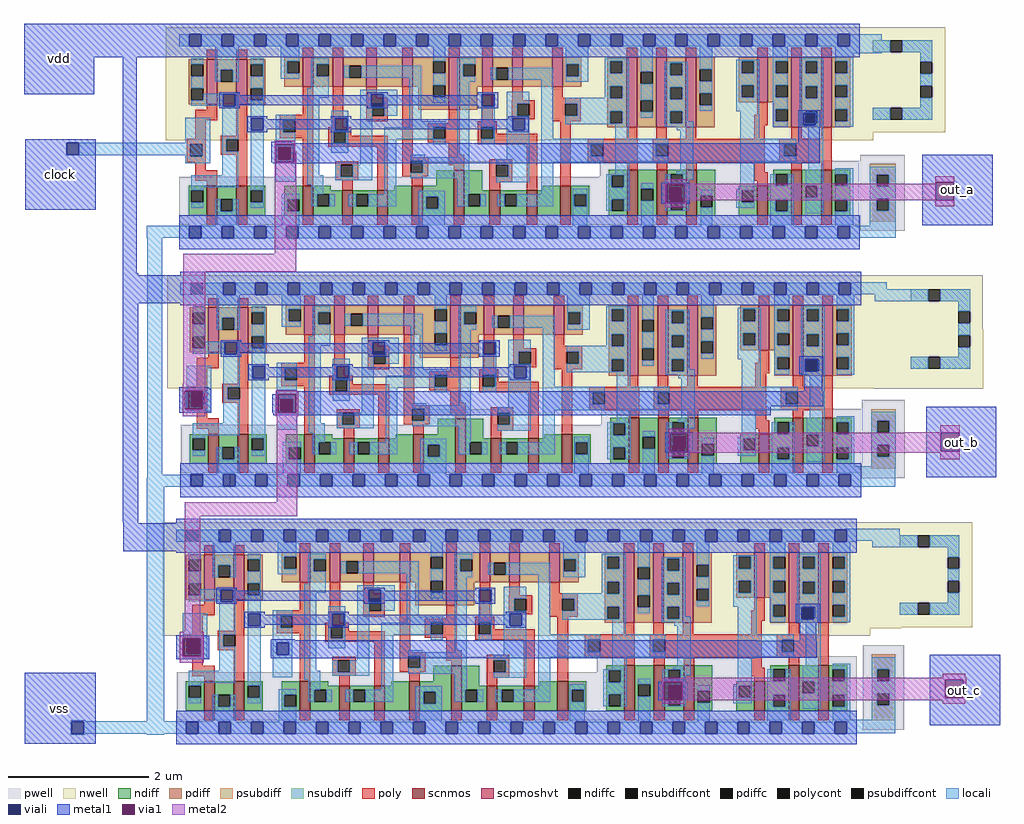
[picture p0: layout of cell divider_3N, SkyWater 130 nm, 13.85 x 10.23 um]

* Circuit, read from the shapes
.subckt divider_3N clock out_a out_b out_c vdd vss
XM1 vss x2/CLK n1 vss sky130_fd_pr__nfet_01v8 w=0.42 l=0.15
XM2 vss clock n2 vss sky130_fd_pr__nfet_01v8 w=0.42 l=0.15
XM3 vss x1/CLK n3 vss sky130_fd_pr__nfet_01v8 w=0.42 l=0.15
XM4 n4 n1 vss vss sky130_fd_pr__nfet_01v8 w=0.42 l=0.15
XM5 n5 n2 vss vss sky130_fd_pr__nfet_01v8 w=0.42 l=0.15
XM6 n6 n3 vss vss sky130_fd_pr__nfet_01v8 w=0.42 l=0.15
XM7 n7 x2/D vss vss sky130_fd_pr__nfet_01v8 w=0.42 l=0.15
XM8 n8 x1/CLK vss vss sky130_fd_pr__nfet_01v8 w=0.42 l=0.15
XM9 n9 x2/CLK vss vss sky130_fd_pr__nfet_01v8 w=0.42 l=0.15
XM10 n10 n1 n7 vss sky130_fd_pr__nfet_01v8 w=0.36 l=0.15
XM11 n11 n2 n8 vss sky130_fd_pr__nfet_01v8 w=0.36 l=0.15
XM12 n12 n3 n9 vss sky130_fd_pr__nfet_01v8 w=0.36 l=0.15
XM13 n13 n4 n10 vss sky130_fd_pr__nfet_01v8 w=0.36 l=0.15
XM14 n14 n5 n11 vss sky130_fd_pr__nfet_01v8 w=0.36 l=0.15
XM15 n15 n6 n12 vss sky130_fd_pr__nfet_01v8 w=0.36 l=0.15
XM16 vss n16 n13 vss sky130_fd_pr__nfet_01v8 w=0.42 l=0.15
XM17 vss n17 n14 vss sky130_fd_pr__nfet_01v8 w=0.42 l=0.15
XM18 vss n18 n15 vss sky130_fd_pr__nfet_01v8 w=0.42 l=0.15
XM19 n16 n10 vss vss sky130_fd_pr__nfet_01v8 w=0.64 l=0.15
XM20 n17 n11 vss vss sky130_fd_pr__nfet_01v8 w=0.64 l=0.15
XM21 n18 n12 vss vss sky130_fd_pr__nfet_01v8 w=0.64 l=0.15
XM22 n19 n4 n16 vss sky130_fd_pr__nfet_01v8 w=0.36 l=0.15
XM23 n20 n5 n17 vss sky130_fd_pr__nfet_01v8 w=0.36 l=0.15
XM24 n21 n6 n18 vss sky130_fd_pr__nfet_01v8 w=0.36 l=0.15
XM25 n22 n1 n19 vss sky130_fd_pr__nfet_01v8 w=0.36 l=0.15
XM26 n23 n2 n20 vss sky130_fd_pr__nfet_01v8 w=0.36 l=0.15
XM27 n24 n3 n21 vss sky130_fd_pr__nfet_01v8 w=0.36 l=0.15
XM28 vss n25 n22 vss sky130_fd_pr__nfet_01v8 w=0.42 l=0.15
XM29 vss n26 n23 vss sky130_fd_pr__nfet_01v8 w=0.42 l=0.15
XM30 vss n27 n24 vss sky130_fd_pr__nfet_01v8 w=0.42 l=0.15
XM31 vss n19 n25 vss sky130_fd_pr__nfet_01v8 w=0.65 l=0.15
XM32 vss n20 n26 vss sky130_fd_pr__nfet_01v8 w=0.65 l=0.15
XM33 vss n21 n27 vss sky130_fd_pr__nfet_01v8 w=0.65 l=0.15
XM34 out_c n25 vss vss sky130_fd_pr__nfet_01v8 w=0.65 l=0.15 m=2
XM35 out_a n26 vss vss sky130_fd_pr__nfet_01v8 w=0.65 l=0.15 m=2
XM36 out_b n27 vss vss sky130_fd_pr__nfet_01v8 w=0.65 l=0.15 m=2
XM37 vss n25 n28 vss sky130_fd_pr__nfet_01v8 w=0.42 l=0.15
XM38 vss n26 n29 vss sky130_fd_pr__nfet_01v8 w=0.42 l=0.15
XM39 vss n27 n30 vss sky130_fd_pr__nfet_01v8 w=0.42 l=0.15
XM40 x2/D n28 vss vss sky130_fd_pr__nfet_01v8 w=0.65 l=0.15 m=2
XM41 x1/CLK n29 vss vss sky130_fd_pr__nfet_01v8 w=0.65 l=0.15 m=2
XM42 x2/CLK n30 vss vss sky130_fd_pr__nfet_01v8 w=0.65 l=0.15 m=2
XM43 vdd x2/CLK n1 vdd sky130_fd_pr__pfet_01v8_hvt w=0.64 l=0.15
XM44 vdd clock n2 vdd sky130_fd_pr__pfet_01v8_hvt w=0.64 l=0.15
XM45 vdd x1/CLK n3 vdd sky130_fd_pr__pfet_01v8_hvt w=0.64 l=0.15
XM46 n4 n1 vdd vdd sky130_fd_pr__pfet_01v8_hvt w=0.64 l=0.15
XM47 n5 n2 vdd vdd sky130_fd_pr__pfet_01v8_hvt w=0.64 l=0.15
XM48 n6 n3 vdd vdd sky130_fd_pr__pfet_01v8_hvt w=0.64 l=0.15
XM49 n7 x2/D vdd vdd sky130_fd_pr__pfet_01v8_hvt w=0.42 l=0.15
XM50 n8 x1/CLK vdd vdd sky130_fd_pr__pfet_01v8_hvt w=0.42 l=0.15
XM51 n9 x2/CLK vdd vdd sky130_fd_pr__pfet_01v8_hvt w=0.42 l=0.15
XM52 n10 n4 n7 vdd sky130_fd_pr__pfet_01v8_hvt w=0.42 l=0.15
XM53 n11 n5 n8 vdd sky130_fd_pr__pfet_01v8_hvt w=0.42 l=0.15
XM54 n12 n6 n9 vdd sky130_fd_pr__pfet_01v8_hvt w=0.42 l=0.15
XM55 n31 n1 n10 vdd sky130_fd_pr__pfet_01v8_hvt w=0.42 l=0.15
XM56 n32 n2 n11 vdd sky130_fd_pr__pfet_01v8_hvt w=0.42 l=0.15
XM57 n33 n3 n12 vdd sky130_fd_pr__pfet_01v8_hvt w=0.42 l=0.15
XM58 vdd n16 n31 vdd sky130_fd_pr__pfet_01v8_hvt w=0.42 l=0.15
XM59 vdd n17 n32 vdd sky130_fd_pr__pfet_01v8_hvt w=0.42 l=0.15
XM60 vdd n18 n33 vdd sky130_fd_pr__pfet_01v8_hvt w=0.42 l=0.15
XM61 n16 n10 vdd vdd sky130_fd_pr__pfet_01v8_hvt w=0.75 l=0.15
XM62 n17 n11 vdd vdd sky130_fd_pr__pfet_01v8_hvt w=0.75 l=0.15
XM63 n18 n12 vdd vdd sky130_fd_pr__pfet_01v8_hvt w=0.75 l=0.15
XM64 n19 n1 n16 vdd sky130_fd_pr__pfet_01v8_hvt w=0.42 l=0.15
XM65 n20 n2 n17 vdd sky130_fd_pr__pfet_01v8_hvt w=0.42 l=0.15
XM66 n21 n3 n18 vdd sky130_fd_pr__pfet_01v8_hvt w=0.42 l=0.15
XM67 n34 n4 n19 vdd sky130_fd_pr__pfet_01v8_hvt w=0.42 l=0.15
XM68 n35 n5 n20 vdd sky130_fd_pr__pfet_01v8_hvt w=0.42 l=0.15
XM69 n36 n6 n21 vdd sky130_fd_pr__pfet_01v8_hvt w=0.42 l=0.15
XM70 vdd n25 n34 vdd sky130_fd_pr__pfet_01v8_hvt w=0.42 l=0.15
XM71 vdd n26 n35 vdd sky130_fd_pr__pfet_01v8_hvt w=0.42 l=0.15
XM72 vdd n27 n36 vdd sky130_fd_pr__pfet_01v8_hvt w=0.42 l=0.15
XM73 vdd n19 n25 vdd sky130_fd_pr__pfet_01v8_hvt w=1 l=0.15
XM74 vdd n20 n26 vdd sky130_fd_pr__pfet_01v8_hvt w=1 l=0.15
XM75 vdd n21 n27 vdd sky130_fd_pr__pfet_01v8_hvt w=1 l=0.15
XM76 out_c n25 vdd vdd sky130_fd_pr__pfet_01v8_hvt w=1 l=0.15 m=2
XM77 out_a n26 vdd vdd sky130_fd_pr__pfet_01v8_hvt w=1 l=0.15 m=2
XM78 out_b n27 vdd vdd sky130_fd_pr__pfet_01v8_hvt w=1 l=0.15 m=2
XM79 vdd n25 n28 vdd sky130_fd_pr__pfet_01v8_hvt w=0.64 l=0.15
XM80 vdd n26 n29 vdd sky130_fd_pr__pfet_01v8_hvt w=0.64 l=0.15
XM81 vdd n27 n30 vdd sky130_fd_pr__pfet_01v8_hvt w=0.64 l=0.15
XM82 x2/D n28 vdd vdd sky130_fd_pr__pfet_01v8_hvt w=1 l=0.15 m=2
XM83 x1/CLK n29 vdd vdd sky130_fd_pr__pfet_01v8_hvt w=1 l=0.15 m=2
XM84 x2/CLK n30 vdd vdd sky130_fd_pr__pfet_01v8_hvt w=1 l=0.15 m=2
.ends

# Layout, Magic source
magic
tech sky130A
magscale 1 2
<< nwell >>
rect 3997 101 4202 399
rect 3982 -458 4309 -304
rect 3982 -602 4310 -458
rect 4000 -626 4310 -602
rect 3988 -1304 4279 -1006
rect 3988 -1306 4078 -1304
<< pwell >>
rect 3962 -178 4088 38
rect 3966 -880 4088 -658
rect 3968 -1594 4086 -1354
<< psubdiff >>
rect 3988 -19 4062 12
rect 3988 -53 4008 -19
rect 4042 -53 4062 -19
rect 3988 -87 4062 -53
rect 3988 -121 4008 -87
rect 4042 -121 4062 -87
rect 3988 -152 4062 -121
rect 3992 -718 4062 -684
rect 3992 -752 4010 -718
rect 4044 -752 4062 -718
rect 3992 -786 4062 -752
rect 3992 -820 4010 -786
rect 4044 -820 4062 -786
rect 3992 -854 4062 -820
rect 3994 -1423 4060 -1380
rect 3994 -1457 4010 -1423
rect 4044 -1457 4060 -1423
rect 3994 -1491 4060 -1457
rect 3994 -1525 4010 -1491
rect 4044 -1525 4060 -1491
rect 3994 -1568 4060 -1525
<< nsubdiff >>
rect 3997 329 4047 363
rect 4081 329 4166 363
rect 4132 301 4166 329
rect 4132 233 4166 267
rect 4132 171 4166 199
rect 3997 137 4047 171
rect 4081 137 4166 171
rect 4104 -378 4154 -344
rect 4188 -378 4273 -344
rect 4239 -406 4273 -378
rect 4239 -474 4273 -440
rect 4239 -536 4273 -508
rect 4104 -570 4154 -536
rect 4188 -570 4273 -536
rect 4074 -1076 4124 -1042
rect 4158 -1076 4243 -1042
rect 4209 -1104 4243 -1076
rect 4209 -1172 4243 -1138
rect 4209 -1234 4243 -1206
rect 4074 -1268 4124 -1234
rect 4158 -1268 4243 -1234
<< psubdiffcont >>
rect 4008 -53 4042 -19
rect 4008 -121 4042 -87
rect 4010 -752 4044 -718
rect 4010 -820 4044 -786
rect 4010 -1457 4044 -1423
rect 4010 -1525 4044 -1491
<< nsubdiffcont >>
rect 4047 329 4081 363
rect 4132 267 4166 301
rect 4132 199 4166 233
rect 4047 137 4081 171
rect 4154 -378 4188 -344
rect 4239 -440 4273 -406
rect 4239 -508 4273 -474
rect 4154 -570 4188 -536
rect 4124 -1076 4158 -1042
rect 4209 -1138 4243 -1104
rect 4209 -1206 4243 -1172
rect 4124 -1268 4158 -1234
<< locali >>
rect 3940 363 4022 380
rect 3940 329 4047 363
rect 4081 329 4166 363
rect 3940 326 4022 329
rect 4132 301 4166 329
rect 4132 233 4166 267
rect 4132 171 4166 199
rect 3798 156 3836 158
rect 3798 122 3800 156
rect 3834 122 3836 156
rect 3997 137 4047 171
rect 4081 137 4166 171
rect 3798 120 3836 122
rect 1708 71 2094 72
rect 1708 37 1709 71
rect 1743 37 2094 71
rect 1708 36 2094 37
rect 2304 59 2348 62
rect 2304 25 2309 59
rect 2343 25 2348 59
rect 2304 22 2348 25
rect 3988 -19 4062 4
rect 3414 -56 3460 -50
rect 3414 -90 3420 -56
rect 3454 -90 3460 -56
rect 3414 -96 3460 -90
rect 3988 -53 4008 -19
rect 4042 -53 4062 -19
rect 3988 -87 4062 -53
rect 3988 -121 4008 -87
rect 4042 -121 4062 -87
rect 3988 -164 4062 -121
rect 1936 -198 2172 -164
rect 3940 -180 4062 -164
rect 3958 -198 4062 -180
rect 1938 -870 1980 -198
rect 3944 -344 4036 -324
rect 3944 -358 4154 -344
rect 4002 -378 4154 -358
rect 4188 -378 4273 -344
rect 4239 -406 4273 -378
rect 4239 -474 4273 -440
rect 4239 -536 4273 -508
rect 3800 -543 3844 -540
rect 3800 -577 3805 -543
rect 3839 -577 3844 -543
rect 4104 -570 4154 -536
rect 4188 -570 4273 -536
rect 3800 -580 3844 -577
rect 2052 -643 2108 -632
rect 2052 -677 2063 -643
rect 2097 -677 2108 -643
rect 2052 -688 2108 -677
rect 2308 -656 2360 -650
rect 2308 -690 2317 -656
rect 2351 -690 2360 -656
rect 2308 -696 2360 -690
rect 3992 -718 4062 -692
rect 3992 -752 4010 -718
rect 4044 -752 4062 -718
rect 3424 -762 3470 -756
rect 3424 -796 3430 -762
rect 3464 -796 3470 -762
rect 3424 -802 3470 -796
rect 3992 -786 4062 -752
rect 3992 -820 4010 -786
rect 4044 -820 4062 -786
rect 3992 -846 4062 -820
rect 1938 -880 2174 -870
rect 1936 -904 2174 -880
rect 3942 -904 4060 -846
rect 1720 -1570 1762 -1568
rect 1936 -1570 1986 -904
rect 3918 -1028 4074 -1024
rect 3950 -1042 4074 -1028
rect 3950 -1058 4124 -1042
rect 3996 -1076 4124 -1058
rect 4158 -1076 4243 -1042
rect 4209 -1104 4243 -1076
rect 4209 -1172 4243 -1138
rect 4209 -1234 4243 -1206
rect 3790 -1246 3836 -1242
rect 3790 -1280 3796 -1246
rect 3830 -1280 3836 -1246
rect 4074 -1268 4124 -1234
rect 4158 -1268 4243 -1234
rect 3790 -1284 3836 -1280
rect 2038 -1344 2102 -1334
rect 2038 -1378 2053 -1344
rect 2087 -1378 2102 -1344
rect 2038 -1388 2102 -1378
rect 2302 -1347 2344 -1344
rect 2302 -1381 2306 -1347
rect 2340 -1381 2344 -1347
rect 2302 -1384 2344 -1381
rect 3994 -1423 4060 -1388
rect 3994 -1457 4010 -1423
rect 4044 -1457 4060 -1423
rect 3410 -1468 3456 -1466
rect 3410 -1502 3416 -1468
rect 3450 -1502 3456 -1468
rect 3410 -1512 3456 -1502
rect 3994 -1491 4060 -1457
rect 3994 -1525 4010 -1491
rect 4044 -1525 4060 -1491
rect 3994 -1566 4060 -1525
rect 1720 -1571 2164 -1570
rect 1720 -1605 1724 -1571
rect 1758 -1605 2164 -1571
rect 3928 -1604 4060 -1566
rect 1720 -1606 2164 -1605
rect 1720 -1608 1762 -1606
rect 1936 -1608 1986 -1606
<< viali >>
rect 3800 122 3834 156
rect 1709 37 1743 71
rect 2309 25 2343 59
rect 3420 -90 3454 -56
rect 3805 -577 3839 -543
rect 2063 -677 2097 -643
rect 2317 -690 2351 -656
rect 3430 -796 3464 -762
rect 3796 -1280 3830 -1246
rect 2053 -1378 2087 -1344
rect 2306 -1381 2340 -1347
rect 3416 -1502 3450 -1468
rect 1724 -1605 1758 -1571
<< metal1 >>
rect 1588 314 2056 410
rect 1588 210 1788 314
rect 1592 71 1792 82
rect 1592 37 1709 71
rect 1743 37 1792 71
rect 1592 -118 1792 37
rect 1868 -298 1908 314
rect 3786 156 3848 164
rect 3786 122 3800 156
rect 3834 122 3848 156
rect 3786 114 3848 122
rect 2290 70 2348 74
rect 3786 70 3846 114
rect 2290 68 3846 70
rect 2290 16 2303 68
rect 2355 16 3846 68
rect 2294 14 3846 16
rect 2348 12 2376 14
rect 4138 -40 4338 38
rect 3396 -46 3478 -42
rect 3396 -98 3411 -46
rect 3463 -98 3478 -46
rect 3396 -102 3478 -98
rect 4138 -92 4175 -40
rect 4227 -92 4338 -40
rect 4138 -162 4338 -92
rect 1868 -304 1912 -298
rect 1868 -384 2126 -304
rect 1868 -1006 1912 -384
rect 3788 -543 3856 -534
rect 3788 -577 3805 -543
rect 3839 -577 3856 -543
rect 3788 -586 3856 -577
rect 2028 -626 2112 -622
rect 2028 -632 2120 -626
rect 2028 -684 2044 -632
rect 2096 -643 2120 -632
rect 2306 -634 2360 -630
rect 3802 -634 3854 -586
rect 2306 -642 3856 -634
rect 2097 -677 2120 -643
rect 2096 -684 2120 -677
rect 2028 -694 2120 -684
rect 2292 -694 2308 -642
rect 2360 -676 3856 -642
rect 2360 -694 3708 -676
rect 2296 -702 3708 -694
rect 3408 -753 3486 -750
rect 3408 -805 3421 -753
rect 3473 -805 3486 -753
rect 3408 -808 3486 -805
rect 4148 -752 4348 -678
rect 4148 -804 4190 -752
rect 4242 -804 4348 -752
rect 4148 -878 4348 -804
rect 1870 -1008 1912 -1006
rect 1870 -1088 2146 -1008
rect 3778 -1246 3848 -1236
rect 3778 -1280 3796 -1246
rect 3830 -1280 3848 -1246
rect 3778 -1290 3848 -1280
rect 2020 -1328 2108 -1326
rect 2020 -1334 2114 -1328
rect 2020 -1386 2038 -1334
rect 2090 -1386 2114 -1334
rect 2290 -1340 2356 -1338
rect 2020 -1394 2114 -1386
rect 2288 -1342 3668 -1340
rect 3790 -1342 3836 -1290
rect 2288 -1347 3838 -1342
rect 2288 -1381 2306 -1347
rect 2340 -1381 3838 -1347
rect 2288 -1390 3838 -1381
rect 2288 -1392 3668 -1390
rect 1590 -1571 1792 -1432
rect 4158 -1452 4358 -1382
rect 3398 -1458 3468 -1452
rect 3388 -1510 3404 -1458
rect 3456 -1510 3472 -1458
rect 4158 -1504 4202 -1452
rect 4254 -1504 4358 -1452
rect 1590 -1605 1724 -1571
rect 1758 -1605 1792 -1571
rect 4158 -1582 4358 -1504
rect 1590 -1634 1792 -1605
<< via1 >>
rect 2303 59 2355 68
rect 2303 25 2309 59
rect 2309 25 2343 59
rect 2343 25 2355 59
rect 2303 16 2355 25
rect 3411 -56 3463 -46
rect 3411 -90 3420 -56
rect 3420 -90 3454 -56
rect 3454 -90 3463 -56
rect 3411 -98 3463 -90
rect 4175 -92 4227 -40
rect 2044 -643 2096 -632
rect 2044 -677 2063 -643
rect 2063 -677 2096 -643
rect 2044 -684 2096 -677
rect 2308 -656 2360 -642
rect 2308 -690 2317 -656
rect 2317 -690 2351 -656
rect 2351 -690 2360 -656
rect 2308 -694 2360 -690
rect 3421 -762 3473 -753
rect 3421 -796 3430 -762
rect 3430 -796 3464 -762
rect 3464 -796 3473 -762
rect 3421 -805 3473 -796
rect 4190 -804 4242 -752
rect 2038 -1344 2090 -1334
rect 2038 -1378 2053 -1344
rect 2053 -1378 2087 -1344
rect 2087 -1378 2090 -1344
rect 2038 -1386 2090 -1378
rect 3404 -1468 3456 -1458
rect 3404 -1502 3416 -1468
rect 3416 -1502 3450 -1468
rect 3450 -1502 3456 -1468
rect 3404 -1510 3456 -1502
rect 4202 -1504 4254 -1452
<< metal2 >>
rect 2300 68 2358 78
rect 2300 16 2303 68
rect 2355 48 2358 68
rect 2355 16 2360 48
rect 2300 -244 2360 16
rect 3406 -44 3468 -32
rect 4174 -40 4228 -24
rect 4174 -44 4175 -40
rect 3406 -46 4175 -44
rect 3406 -98 3411 -46
rect 3463 -92 4175 -46
rect 4227 -92 4228 -40
rect 3463 -98 3468 -92
rect 3406 -112 3468 -98
rect 4174 -108 4228 -92
rect 2040 -294 2360 -244
rect 2040 -612 2102 -294
rect 2038 -632 2102 -612
rect 2038 -684 2044 -632
rect 2096 -684 2102 -632
rect 2038 -704 2102 -684
rect 2302 -642 2366 -632
rect 2302 -694 2308 -642
rect 2360 -694 2366 -642
rect 2302 -704 2366 -694
rect 2306 -948 2364 -704
rect 3418 -752 3476 -740
rect 4188 -750 4244 -730
rect 4090 -752 4244 -750
rect 3418 -753 4190 -752
rect 3418 -805 3421 -753
rect 3473 -804 4190 -753
rect 4242 -804 4244 -752
rect 3473 -805 4244 -804
rect 3418 -808 4244 -805
rect 3418 -818 3476 -808
rect 4188 -826 4244 -808
rect 2044 -988 2364 -948
rect 2044 -1316 2088 -988
rect 2030 -1334 2098 -1316
rect 2030 -1386 2038 -1334
rect 2090 -1386 2098 -1334
rect 2030 -1404 2098 -1386
rect 4196 -1446 4260 -1436
rect 3398 -1452 4262 -1446
rect 3398 -1458 4202 -1452
rect 3398 -1510 3404 -1458
rect 3456 -1504 4202 -1458
rect 4254 -1504 4262 -1452
rect 3456 -1510 4262 -1504
rect 3398 -1520 3462 -1510
rect 4196 -1520 4260 -1510
use sky130_fd_sc_hd__dfxbp_2  x1
transform 1 0 2032 0 1 -886
box -38 -48 1970 592
use sky130_fd_sc_hd__dfxbp_2  x2
transform 1 0 2020 0 1 -1588
box -38 -48 1970 592
use sky130_fd_sc_hd__dfxbp_2  x3
transform 1 0 2028 0 1 -182
box -38 -48 1970 592
<< labels >>
flabel metal1 s 1592 -118 1792 82 0 FreeSans 320 0 0 0 clock
port 1 nsew
flabel metal1 s 4138 -162 4338 38 0 FreeSans 320 0 0 0 out_a
port 2 nsew
flabel metal1 s 4148 -878 4348 -678 0 FreeSans 320 0 0 0 out_b
port 3 nsew
flabel metal1 s 4158 -1582 4358 -1382 0 FreeSans 320 0 0 0 out_c
port 4 nsew
flabel metal1 s 1588 210 1788 410 0 FreeSans 320 0 0 0 vdd
port 5 nsew
flabel metal1 s 1590 -1634 1790 -1434 0 FreeSans 320 0 0 0 vss
port 6 nsew
<< end >>

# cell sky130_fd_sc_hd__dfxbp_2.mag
magic
tech sky130A
magscale 1 2
<< nwell >>
rect -38 261 1970 582
<< pwell >>
rect 704 157 886 201
rect 1194 157 1931 203
rect 1 21 1931 157
rect 29 -17 63 21
<< scnmos >>
rect 79 47 109 131
rect 163 47 193 131
rect 351 47 381 131
rect 463 47 493 119
rect 562 47 592 119
rect 661 47 691 131
rect 780 47 810 175
rect 881 47 911 119
rect 987 47 1017 119
rect 1082 47 1112 131
rect 1272 47 1302 177
rect 1356 47 1386 177
rect 1440 47 1470 177
rect 1641 47 1671 131
rect 1738 47 1768 177
rect 1822 47 1852 177
<< scpmoshvt >>
rect 79 363 109 491
rect 163 363 193 491
rect 351 413 381 497
rect 436 413 466 497
rect 531 413 561 497
rect 634 413 664 497
rect 766 347 796 497
rect 861 413 891 497
rect 945 413 975 497
rect 1059 413 1089 497
rect 1270 297 1300 497
rect 1354 297 1384 497
rect 1438 297 1468 497
rect 1641 369 1671 497
rect 1738 297 1768 497
rect 1822 297 1852 497
<< ndiff >>
rect 27 119 79 131
rect 27 85 35 119
rect 69 85 79 119
rect 27 47 79 85
rect 109 93 163 131
rect 109 59 119 93
rect 153 59 163 93
rect 109 47 163 59
rect 193 119 245 131
rect 193 85 203 119
rect 237 85 245 119
rect 193 47 245 85
rect 299 93 351 131
rect 299 59 307 93
rect 341 59 351 93
rect 299 47 351 59
rect 381 119 431 131
rect 730 131 780 175
rect 611 119 661 131
rect 381 107 463 119
rect 381 73 392 107
rect 426 73 463 107
rect 381 47 463 73
rect 493 107 562 119
rect 493 73 503 107
rect 537 73 562 107
rect 493 47 562 73
rect 592 47 661 119
rect 691 101 780 131
rect 691 67 702 101
rect 736 67 780 101
rect 691 47 780 67
rect 810 119 860 175
rect 1220 162 1272 177
rect 1032 119 1082 131
rect 810 107 881 119
rect 810 73 821 107
rect 855 73 881 107
rect 810 47 881 73
rect 911 107 987 119
rect 911 73 924 107
rect 958 73 987 107
rect 911 47 987 73
rect 1017 47 1082 119
rect 1112 107 1164 131
rect 1112 73 1122 107
rect 1156 73 1164 107
rect 1112 47 1164 73
rect 1220 128 1228 162
rect 1262 128 1272 162
rect 1220 94 1272 128
rect 1220 60 1228 94
rect 1262 60 1272 94
rect 1220 47 1272 60
rect 1302 123 1356 177
rect 1302 89 1312 123
rect 1346 89 1356 123
rect 1302 47 1356 89
rect 1386 164 1440 177
rect 1386 130 1396 164
rect 1430 130 1440 164
rect 1386 96 1440 130
rect 1386 62 1396 96
rect 1430 62 1440 96
rect 1386 47 1440 62
rect 1470 104 1522 177
rect 1686 165 1738 177
rect 1686 131 1694 165
rect 1728 131 1738 165
rect 1470 70 1480 104
rect 1514 70 1522 104
rect 1470 47 1522 70
rect 1589 119 1641 131
rect 1589 85 1597 119
rect 1631 85 1641 119
rect 1589 47 1641 85
rect 1671 93 1738 131
rect 1671 59 1694 93
rect 1728 59 1738 93
rect 1671 47 1738 59
rect 1768 131 1822 177
rect 1768 97 1778 131
rect 1812 97 1822 131
rect 1768 47 1822 97
rect 1852 165 1905 177
rect 1852 131 1863 165
rect 1897 131 1905 165
rect 1852 93 1905 131
rect 1852 59 1863 93
rect 1897 59 1905 93
rect 1852 47 1905 59
<< pdiff >>
rect 27 477 79 491
rect 27 443 35 477
rect 69 443 79 477
rect 27 409 79 443
rect 27 375 35 409
rect 69 375 79 409
rect 27 363 79 375
rect 109 461 163 491
rect 109 427 119 461
rect 153 427 163 461
rect 109 363 163 427
rect 193 477 245 491
rect 193 443 203 477
rect 237 443 245 477
rect 193 409 245 443
rect 299 485 351 497
rect 299 451 307 485
rect 341 451 351 485
rect 299 413 351 451
rect 381 477 436 497
rect 381 443 391 477
rect 425 443 436 477
rect 381 413 436 443
rect 466 472 531 497
rect 466 438 483 472
rect 517 438 531 472
rect 466 413 531 438
rect 561 413 634 497
rect 664 485 766 497
rect 664 451 722 485
rect 756 451 766 485
rect 664 417 766 451
rect 664 413 722 417
rect 193 375 203 409
rect 237 375 245 409
rect 193 363 245 375
rect 679 383 722 413
rect 756 383 766 417
rect 679 347 766 383
rect 796 477 861 497
rect 796 443 806 477
rect 840 443 861 477
rect 796 413 861 443
rect 891 467 945 497
rect 891 433 901 467
rect 935 433 945 467
rect 891 413 945 433
rect 975 413 1059 497
rect 1089 477 1142 497
rect 1089 443 1100 477
rect 1134 443 1142 477
rect 1089 413 1142 443
rect 1216 485 1270 497
rect 1216 451 1224 485
rect 1258 451 1270 485
rect 1216 414 1270 451
rect 796 347 846 413
rect 1216 380 1224 414
rect 1258 380 1270 414
rect 1216 343 1270 380
rect 1216 309 1224 343
rect 1258 309 1270 343
rect 1216 297 1270 309
rect 1300 455 1354 497
rect 1300 421 1310 455
rect 1344 421 1354 455
rect 1300 375 1354 421
rect 1300 341 1310 375
rect 1344 341 1354 375
rect 1300 297 1354 341
rect 1384 479 1438 497
rect 1384 445 1394 479
rect 1428 445 1438 479
rect 1384 411 1438 445
rect 1384 377 1394 411
rect 1428 377 1438 411
rect 1384 343 1438 377
rect 1384 309 1394 343
rect 1428 309 1438 343
rect 1384 297 1438 309
rect 1468 462 1520 497
rect 1468 428 1478 462
rect 1512 428 1520 462
rect 1468 394 1520 428
rect 1468 360 1478 394
rect 1512 360 1520 394
rect 1589 485 1641 497
rect 1589 451 1597 485
rect 1631 451 1641 485
rect 1589 417 1641 451
rect 1589 383 1597 417
rect 1631 383 1641 417
rect 1589 369 1641 383
rect 1671 485 1738 497
rect 1671 451 1694 485
rect 1728 451 1738 485
rect 1671 417 1738 451
rect 1671 383 1694 417
rect 1728 383 1738 417
rect 1671 369 1738 383
rect 1468 297 1520 360
rect 1686 349 1738 369
rect 1686 315 1694 349
rect 1728 315 1738 349
rect 1686 297 1738 315
rect 1768 485 1822 497
rect 1768 451 1778 485
rect 1812 451 1822 485
rect 1768 414 1822 451
rect 1768 380 1778 414
rect 1812 380 1822 414
rect 1768 343 1822 380
rect 1768 309 1778 343
rect 1812 309 1822 343
rect 1768 297 1822 309
rect 1852 485 1905 497
rect 1852 451 1863 485
rect 1897 451 1905 485
rect 1852 417 1905 451
rect 1852 383 1863 417
rect 1897 383 1905 417
rect 1852 349 1905 383
rect 1852 315 1863 349
rect 1897 315 1905 349
rect 1852 297 1905 315
<< ndiffc >>
rect 35 85 69 119
rect 119 59 153 93
rect 203 85 237 119
rect 307 59 341 93
rect 392 73 426 107
rect 503 73 537 107
rect 702 67 736 101
rect 821 73 855 107
rect 924 73 958 107
rect 1122 73 1156 107
rect 1228 128 1262 162
rect 1228 60 1262 94
rect 1312 89 1346 123
rect 1396 130 1430 164
rect 1396 62 1430 96
rect 1694 131 1728 165
rect 1480 70 1514 104
rect 1597 85 1631 119
rect 1694 59 1728 93
rect 1778 97 1812 131
rect 1863 131 1897 165
rect 1863 59 1897 93
<< pdiffc >>
rect 35 443 69 477
rect 35 375 69 409
rect 119 427 153 461
rect 203 443 237 477
rect 307 451 341 485
rect 391 443 425 477
rect 483 438 517 472
rect 722 451 756 485
rect 203 375 237 409
rect 722 383 756 417
rect 806 443 840 477
rect 901 433 935 467
rect 1100 443 1134 477
rect 1224 451 1258 485
rect 1224 380 1258 414
rect 1224 309 1258 343
rect 1310 421 1344 455
rect 1310 341 1344 375
rect 1394 445 1428 479
rect 1394 377 1428 411
rect 1394 309 1428 343
rect 1478 428 1512 462
rect 1478 360 1512 394
rect 1597 451 1631 485
rect 1597 383 1631 417
rect 1694 451 1728 485
rect 1694 383 1728 417
rect 1694 315 1728 349
rect 1778 451 1812 485
rect 1778 380 1812 414
rect 1778 309 1812 343
rect 1863 451 1897 485
rect 1863 383 1897 417
rect 1863 315 1897 349
<< poly >>
rect 79 491 109 517
rect 163 491 193 517
rect 351 497 381 523
rect 436 497 466 523
rect 531 497 561 523
rect 634 497 664 523
rect 766 497 796 523
rect 861 497 891 523
rect 945 497 975 523
rect 1059 497 1089 523
rect 1270 497 1300 523
rect 1354 497 1384 523
rect 1438 497 1468 523
rect 1641 497 1671 523
rect 1738 497 1768 523
rect 1822 497 1852 523
rect 79 348 109 363
rect 46 318 109 348
rect 46 265 76 318
rect 163 274 193 363
rect 351 333 381 413
rect 22 249 76 265
rect 22 215 32 249
rect 66 215 76 249
rect 118 264 193 274
rect 286 317 381 333
rect 286 283 296 317
rect 330 283 381 317
rect 436 297 466 413
rect 531 381 561 413
rect 531 365 592 381
rect 531 331 548 365
rect 582 331 592 365
rect 531 315 592 331
rect 286 267 381 283
rect 118 230 134 264
rect 168 230 193 264
rect 118 220 193 230
rect 22 199 76 215
rect 46 176 76 199
rect 46 146 109 176
rect 79 131 109 146
rect 163 131 193 220
rect 351 131 381 267
rect 423 287 489 297
rect 423 253 439 287
rect 473 273 489 287
rect 473 253 592 273
rect 423 243 592 253
rect 443 191 509 201
rect 443 157 459 191
rect 493 157 509 191
rect 443 147 509 157
rect 463 119 493 147
rect 562 119 592 243
rect 634 213 664 413
rect 766 309 796 347
rect 861 315 891 413
rect 945 375 975 413
rect 1059 381 1089 413
rect 944 365 1010 375
rect 944 331 960 365
rect 994 331 1010 365
rect 944 321 1010 331
rect 1059 365 1140 381
rect 1059 331 1096 365
rect 1130 331 1140 365
rect 1059 315 1140 331
rect 706 299 796 309
rect 706 265 722 299
rect 756 265 796 299
rect 706 255 796 265
rect 766 220 796 255
rect 848 299 902 315
rect 848 265 858 299
rect 892 279 902 299
rect 892 265 1017 279
rect 848 249 1017 265
rect 634 203 708 213
rect 634 169 658 203
rect 692 169 708 203
rect 766 190 810 220
rect 780 175 810 190
rect 881 191 945 207
rect 634 159 708 169
rect 661 131 691 159
rect 881 157 901 191
rect 935 157 945 191
rect 881 141 945 157
rect 881 119 911 141
rect 987 119 1017 249
rect 1082 131 1112 315
rect 1641 333 1671 369
rect 1632 303 1671 333
rect 1270 265 1300 297
rect 1354 265 1384 297
rect 1438 265 1468 297
rect 1632 265 1662 303
rect 1738 265 1768 297
rect 1822 265 1852 297
rect 1160 249 1302 265
rect 1160 215 1170 249
rect 1204 215 1302 249
rect 1160 199 1302 215
rect 1344 249 1662 265
rect 1344 215 1354 249
rect 1388 215 1662 249
rect 1344 199 1662 215
rect 1704 249 1852 265
rect 1704 215 1718 249
rect 1752 215 1852 249
rect 1704 199 1852 215
rect 1272 177 1302 199
rect 1356 177 1386 199
rect 1440 177 1470 199
rect 1632 170 1662 199
rect 1738 177 1768 199
rect 1822 177 1852 199
rect 1632 146 1671 170
rect 1641 131 1671 146
rect 79 21 109 47
rect 163 21 193 47
rect 351 21 381 47
rect 463 21 493 47
rect 562 21 592 47
rect 661 21 691 47
rect 780 21 810 47
rect 881 21 911 47
rect 987 21 1017 47
rect 1082 21 1112 47
rect 1272 21 1302 47
rect 1356 21 1386 47
rect 1440 21 1470 47
rect 1641 21 1671 47
rect 1738 21 1768 47
rect 1822 21 1852 47
<< polycont >>
rect 32 215 66 249
rect 296 283 330 317
rect 548 331 582 365
rect 134 230 168 264
rect 439 253 473 287
rect 459 157 493 191
rect 960 331 994 365
rect 1096 331 1130 365
rect 722 265 756 299
rect 858 265 892 299
rect 658 169 692 203
rect 901 157 935 191
rect 1170 215 1204 249
rect 1354 215 1388 249
rect 1718 215 1752 249
<< locali >>
rect 0 527 29 561
rect 63 527 121 561
rect 155 527 213 561
rect 247 527 305 561
rect 339 527 397 561
rect 431 527 489 561
rect 523 527 581 561
rect 615 527 673 561
rect 707 527 765 561
rect 799 527 857 561
rect 891 527 949 561
rect 983 527 1041 561
rect 1075 527 1133 561
rect 1167 527 1225 561
rect 1259 527 1317 561
rect 1351 527 1409 561
rect 1443 527 1501 561
rect 1535 527 1593 561
rect 1627 527 1685 561
rect 1719 527 1777 561
rect 1811 527 1869 561
rect 1903 527 1932 561
rect 35 477 69 493
rect 35 409 69 443
rect 103 461 169 527
rect 103 427 119 461
rect 153 427 169 461
rect 203 477 240 493
rect 237 443 240 477
rect 203 409 240 443
rect 288 485 341 527
rect 288 451 307 485
rect 288 435 341 451
rect 375 477 425 493
rect 375 443 391 477
rect 722 485 756 527
rect 69 391 168 393
rect 69 375 126 391
rect 35 359 126 375
rect 122 357 126 359
rect 160 357 168 391
rect 18 249 88 325
rect 18 215 32 249
rect 66 215 88 249
rect 18 195 88 215
rect 122 264 168 357
rect 122 230 134 264
rect 122 161 168 230
rect 35 127 168 161
rect 237 375 240 409
rect 375 408 425 443
rect 467 438 483 472
rect 517 438 688 472
rect 203 323 240 375
rect 364 382 425 408
rect 514 391 620 404
rect 203 289 205 323
rect 239 289 240 323
rect 35 119 69 127
rect 203 119 240 289
rect 274 317 330 333
rect 274 283 296 317
rect 274 143 330 283
rect 364 161 398 382
rect 514 357 546 391
rect 580 365 620 391
rect 432 323 480 344
rect 432 289 443 323
rect 477 289 480 323
rect 432 287 480 289
rect 432 253 439 287
rect 473 253 480 287
rect 432 225 480 253
rect 514 191 548 357
rect 582 331 620 365
rect 654 315 688 438
rect 722 417 756 451
rect 722 367 756 383
rect 790 477 840 493
rect 790 443 806 477
rect 1098 477 1161 527
rect 790 427 840 443
rect 885 433 901 467
rect 935 433 1062 467
rect 654 299 756 315
rect 654 297 722 299
rect 364 135 409 161
rect 443 157 459 191
rect 493 157 548 191
rect 443 147 548 157
rect 582 265 722 297
rect 582 263 756 265
rect 35 69 69 85
rect 103 59 119 93
rect 153 59 169 93
rect 237 85 240 119
rect 203 69 240 85
rect 291 93 341 109
rect 103 17 169 59
rect 291 59 307 93
rect 375 107 409 135
rect 582 107 616 263
rect 722 249 756 263
rect 658 213 698 219
rect 790 213 824 427
rect 858 391 896 393
rect 858 357 860 391
rect 894 357 896 391
rect 858 299 896 357
rect 892 265 896 299
rect 858 249 896 265
rect 930 365 994 399
rect 930 331 960 365
rect 930 323 994 331
rect 930 289 947 323
rect 981 289 994 323
rect 658 203 824 213
rect 930 207 994 289
rect 692 169 824 203
rect 658 153 824 169
rect 375 73 392 107
rect 426 73 442 107
rect 481 73 503 107
rect 537 73 616 107
rect 680 101 754 117
rect 291 17 341 59
rect 680 67 702 101
rect 736 67 754 101
rect 790 107 824 153
rect 901 191 994 207
rect 935 157 994 191
rect 901 141 994 157
rect 1028 265 1062 433
rect 1098 443 1100 477
rect 1134 443 1161 477
rect 1098 427 1161 443
rect 1208 485 1276 493
rect 1208 451 1224 485
rect 1258 451 1276 485
rect 1208 414 1276 451
rect 1208 381 1224 414
rect 1096 380 1224 381
rect 1258 380 1276 414
rect 1096 365 1276 380
rect 1130 343 1276 365
rect 1130 331 1224 343
rect 1096 309 1224 331
rect 1258 309 1276 343
rect 1310 455 1344 527
rect 1310 375 1344 421
rect 1310 325 1344 341
rect 1378 479 1444 484
rect 1378 445 1394 479
rect 1428 445 1444 479
rect 1378 411 1444 445
rect 1378 377 1394 411
rect 1428 377 1444 411
rect 1378 343 1444 377
rect 1478 462 1513 527
rect 1512 428 1513 462
rect 1478 394 1513 428
rect 1512 360 1513 394
rect 1478 344 1513 360
rect 1581 485 1647 489
rect 1581 451 1597 485
rect 1631 451 1647 485
rect 1581 417 1647 451
rect 1581 383 1597 417
rect 1631 383 1647 417
rect 1581 343 1647 383
rect 1096 306 1276 309
rect 1238 265 1276 306
rect 1378 309 1394 343
rect 1428 315 1444 343
rect 1428 309 1460 315
rect 1378 299 1460 309
rect 1413 289 1460 299
rect 1028 249 1204 265
rect 1028 215 1170 249
rect 1028 199 1204 215
rect 1238 249 1388 265
rect 1238 215 1354 249
rect 1238 199 1388 215
rect 1028 107 1062 199
rect 1238 165 1278 199
rect 1422 173 1460 289
rect 1411 165 1460 173
rect 1212 162 1278 165
rect 1212 128 1228 162
rect 1262 128 1278 162
rect 1380 164 1460 165
rect 790 73 821 107
rect 855 73 871 107
rect 905 73 924 107
rect 958 73 1062 107
rect 1117 107 1159 123
rect 1117 73 1122 107
rect 1156 73 1159 107
rect 680 17 754 67
rect 1117 17 1159 73
rect 1212 94 1278 128
rect 1212 60 1228 94
rect 1262 60 1278 94
rect 1312 123 1346 139
rect 1312 17 1346 89
rect 1380 130 1396 164
rect 1430 148 1460 164
rect 1593 265 1647 343
rect 1685 485 1728 527
rect 1685 451 1694 485
rect 1685 417 1728 451
rect 1685 383 1694 417
rect 1685 349 1728 383
rect 1685 315 1694 349
rect 1685 299 1728 315
rect 1762 485 1829 493
rect 1762 451 1778 485
rect 1812 451 1829 485
rect 1762 414 1829 451
rect 1762 380 1778 414
rect 1812 380 1829 414
rect 1762 343 1829 380
rect 1762 309 1778 343
rect 1812 309 1829 343
rect 1762 299 1829 309
rect 1863 485 1913 527
rect 1897 451 1913 485
rect 1863 417 1913 451
rect 1897 383 1913 417
rect 1863 349 1913 383
rect 1897 315 1913 349
rect 1863 299 1913 315
rect 1593 249 1752 265
rect 1593 215 1718 249
rect 1593 199 1752 215
rect 1430 130 1446 148
rect 1380 96 1446 130
rect 1593 123 1633 199
rect 1786 177 1829 299
rect 1380 62 1396 96
rect 1430 62 1446 96
rect 1380 61 1446 62
rect 1480 104 1514 120
rect 1480 17 1514 70
rect 1581 119 1633 123
rect 1581 85 1597 119
rect 1631 85 1633 119
rect 1581 69 1633 85
rect 1678 131 1694 165
rect 1728 131 1744 165
rect 1678 93 1744 131
rect 1678 59 1694 93
rect 1728 59 1744 93
rect 1678 17 1744 59
rect 1778 131 1829 177
rect 1812 97 1829 131
rect 1778 53 1829 97
rect 1863 165 1913 181
rect 1897 131 1913 165
rect 1863 93 1913 131
rect 1897 59 1913 93
rect 1863 17 1913 59
rect 0 -17 29 17
rect 63 -17 121 17
rect 155 -17 213 17
rect 247 -17 305 17
rect 339 -17 397 17
rect 431 -17 489 17
rect 523 -17 581 17
rect 615 -17 673 17
rect 707 -17 765 17
rect 799 -17 857 17
rect 891 -17 949 17
rect 983 -17 1041 17
rect 1075 -17 1133 17
rect 1167 -17 1225 17
rect 1259 -17 1317 17
rect 1351 -17 1409 17
rect 1443 -17 1501 17
rect 1535 -17 1593 17
rect 1627 -17 1685 17
rect 1719 -17 1777 17
rect 1811 -17 1869 17
rect 1903 -17 1932 17
<< viali >>
rect 29 527 63 561
rect 121 527 155 561
rect 213 527 247 561
rect 305 527 339 561
rect 397 527 431 561
rect 489 527 523 561
rect 581 527 615 561
rect 673 527 707 561
rect 765 527 799 561
rect 857 527 891 561
rect 949 527 983 561
rect 1041 527 1075 561
rect 1133 527 1167 561
rect 1225 527 1259 561
rect 1317 527 1351 561
rect 1409 527 1443 561
rect 1501 527 1535 561
rect 1593 527 1627 561
rect 1685 527 1719 561
rect 1777 527 1811 561
rect 1869 527 1903 561
rect 126 357 160 391
rect 205 289 239 323
rect 546 365 580 391
rect 546 357 548 365
rect 548 357 580 365
rect 443 289 477 323
rect 860 357 894 391
rect 947 289 981 323
rect 29 -17 63 17
rect 121 -17 155 17
rect 213 -17 247 17
rect 305 -17 339 17
rect 397 -17 431 17
rect 489 -17 523 17
rect 581 -17 615 17
rect 673 -17 707 17
rect 765 -17 799 17
rect 857 -17 891 17
rect 949 -17 983 17
rect 1041 -17 1075 17
rect 1133 -17 1167 17
rect 1225 -17 1259 17
rect 1317 -17 1351 17
rect 1409 -17 1443 17
rect 1501 -17 1535 17
rect 1593 -17 1627 17
rect 1685 -17 1719 17
rect 1777 -17 1811 17
rect 1869 -17 1903 17
<< metal1 >>
rect 0 561 1932 592
rect 0 527 29 561
rect 63 527 121 561
rect 155 527 213 561
rect 247 527 305 561
rect 339 527 397 561
rect 431 527 489 561
rect 523 527 581 561
rect 615 527 673 561
rect 707 527 765 561
rect 799 527 857 561
rect 891 527 949 561
rect 983 527 1041 561
rect 1075 527 1133 561
rect 1167 527 1225 561
rect 1259 527 1317 561
rect 1351 527 1409 561
rect 1443 527 1501 561
rect 1535 527 1593 561
rect 1627 527 1685 561
rect 1719 527 1777 561
rect 1811 527 1869 561
rect 1903 527 1932 561
rect 0 496 1932 527
rect 114 391 172 397
rect 114 357 126 391
rect 160 388 172 391
rect 534 391 592 397
rect 534 388 546 391
rect 160 360 546 388
rect 160 357 172 360
rect 114 351 172 357
rect 534 357 546 360
rect 580 388 592 391
rect 848 391 906 397
rect 848 388 860 391
rect 580 360 860 388
rect 580 357 592 360
rect 534 351 592 357
rect 848 357 860 360
rect 894 357 906 391
rect 848 351 906 357
rect 193 323 251 329
rect 193 289 205 323
rect 239 320 251 323
rect 431 323 489 329
rect 431 320 443 323
rect 239 292 443 320
rect 239 289 251 292
rect 193 283 251 289
rect 431 289 443 292
rect 477 320 489 323
rect 935 323 993 329
rect 935 320 947 323
rect 477 292 947 320
rect 477 289 489 292
rect 431 283 489 289
rect 935 289 947 292
rect 981 289 993 323
rect 935 283 993 289
rect 0 17 1932 48
rect 0 -17 29 17
rect 63 -17 121 17
rect 155 -17 213 17
rect 247 -17 305 17
rect 339 -17 397 17
rect 431 -17 489 17
rect 523 -17 581 17
rect 615 -17 673 17
rect 707 -17 765 17
rect 799 -17 857 17
rect 891 -17 949 17
rect 983 -17 1041 17
rect 1075 -17 1133 17
rect 1167 -17 1225 17
rect 1259 -17 1317 17
rect 1351 -17 1409 17
rect 1443 -17 1501 17
rect 1535 -17 1593 17
rect 1627 -17 1685 17
rect 1719 -17 1777 17
rect 1811 -17 1869 17
rect 1903 -17 1932 17
rect 0 -48 1932 -17
<< labels >>
flabel metal1 s 29 -17 63 17 0 FreeSans 200 0 0 0 VGND
port 2 nsew
flabel metal1 s 29 527 63 561 0 FreeSans 200 0 0 0 VPWR
port 3 nsew
flabel locali s 1769 304 1803 338 0 FreeSans 400 0 0 0 Q_N
port 6 nsew
flabel locali s 289 221 323 255 0 FreeSans 200 0 0 0 D
port 8 nsew
flabel locali s 29 221 63 255 0 FreeSans 400 0 0 0 CLK
port 9 nsew
flabel locali s 1390 85 1424 119 0 FreeSans 400 0 0 0 Q
port 7 nsew
flabel pwell s 29 -17 63 17 0 FreeSans 200 0 0 0 VNB
port 4 nsew
flabel pwell s 46 0 46 0 0 FreeSans 200 0 0 0 VNB
flabel nwell s 29 527 63 561 0 FreeSans 200 0 0 0 VPB
port 5 nsew
flabel nwell s 46 544 46 544 0 FreeSans 200 0 0 0 VPB
rlabel comment s 0 0 0 0 4 dfxbp_2
<< properties >>
string FIXED_BBOX 0 0 1932 544
<< end >>
